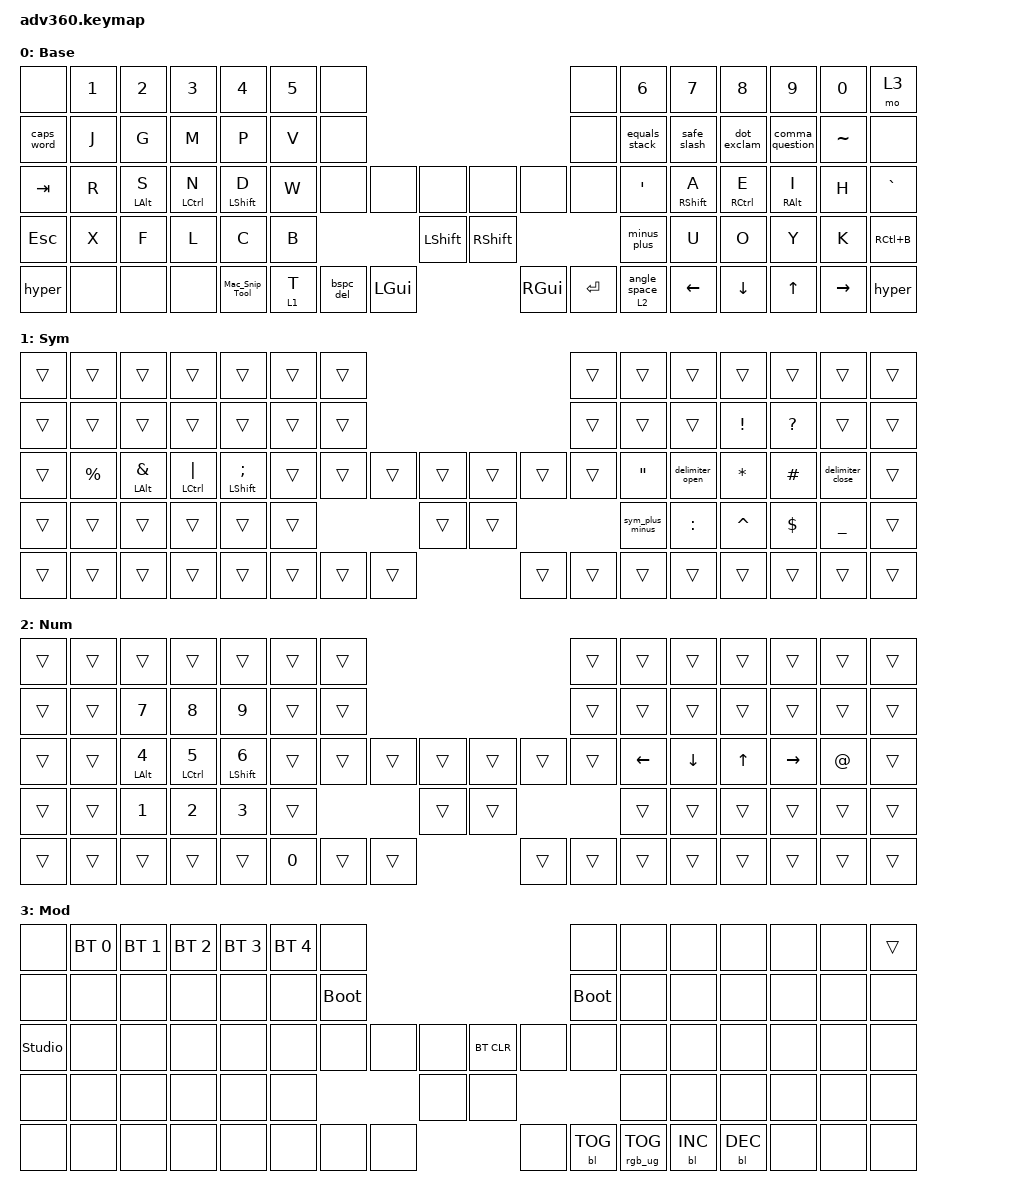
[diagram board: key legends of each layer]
#include <dt-bindings/zmk/stp.h>
#include <behaviors.dtsi>
#include <dt-bindings/zmk/backlight.h>
#include <dt-bindings/zmk/bt.h>
#include <dt-bindings/zmk/keys.h>
#include <dt-bindings/zmk/rgb.h>

// ------------------------------------------------------------------------------------------
// Advantage360 physical key positions (76 total).
// Binding arrays are serialized by position number, not by these visual rows.
//
//  0   1   2   3   4   5   6                                      7   8   9  10  11  12  13
// 14  15  16  17  18  19  20                                     21  22  23  24  25  26  27
// 28  29  30  31  32  33  34                                     39  40  41  42  43  44  45
// 46  47  48  49  50  51                                             54  55  56  57  58  59
//
// 60  61  62  63  64          35  36  |  37  38          71  72  73  74  75
//                         65  66  52  |  53  69  70
//                                 67  |  68
// ------------------------------------------------------------------------------------------

#define LEFT_HAND  0  1  2  3  4  5  6  14 15 16 17 18 19 20  28 29 30 31 32 33 34  46 47 48 49 50 51  60 61 62 63 64
#define RIGHT_HAND 7  8  9  10 11 12 13  21 22 23 24 25 26 27  39 40 41 42 43 44 45  54 55 56 57 58 59  71 72 73 74 75
#define THUMBS     65 66 67 68 69 70
#define CENTER     35 36 37 38 52 53

/ {
    behaviors {
        #include "macros.dtsi"
        #include "version.dtsi"

        hml: hml {
            compatible = "zmk,behavior-hold-tap";
            #binding-cells = <2>;
            flavor = "balanced";
            tapping-term-ms = <250>;
            quick-tap-ms = <175>;
            require-prior-idle-ms = <100>;
            hold-trigger-key-positions = <RIGHT_HAND THUMBS>;
            hold-trigger-on-release;
            bindings = <&kp>, <&kp>;
        };

        hmr: hmr {
            compatible = "zmk,behavior-hold-tap";
            #binding-cells = <2>;
            flavor = "balanced";
            tapping-term-ms = <250>;
            quick-tap-ms = <175>;
            require-prior-idle-ms = <100>;
            hold-trigger-key-positions = <LEFT_HAND THUMBS>;
            hold-trigger-on-release;
            bindings = <&kp>, <&kp>;
        };

        dot_exclam: dot_exclam {
            compatible = "zmk,behavior-mod-morph";
            #binding-cells = <0>;
            bindings = <&kp DOT>, <&kp EXCL>;

            mods = <(MOD_LSFT|MOD_RSFT)>;
        };

        comma_question: comma_question {
            compatible = "zmk,behavior-mod-morph";
            #binding-cells = <0>;
            bindings = <&kp COMMA>, <&kp QMARK>;

            mods = <(MOD_LSFT|MOD_RSFT)>;
        };

        bslash_slash: bslash_slash {
            compatible = "zmk,behavior-mod-morph";
            #binding-cells = <0>;
            bindings = <&kp BSLH>, <&kp KP_DIVIDE>;

            mods = <(MOD_LCTL|MOD_RCTL)>;
        };

        slash_backslash: slash_backslash {
            compatible = "zmk,behavior-mod-morph";
            #binding-cells = <0>;
            bindings = <&kp FSLH>, <&bslash_slash>;

            mods = <(MOD_LSFT|MOD_RSFT)>;
        };

        literal_slash: literal_slash {
            compatible = "zmk,behavior-mod-morph";
            #binding-cells = <0>;
            bindings = <&kp KP_DIVIDE>, <&kp KP_DIVIDE>;

            mods = <(MOD_LSFT|MOD_RSFT|MOD_LCTL|MOD_RCTL)>;
        };

        safe_slash: safe_slash {
            compatible = "zmk,behavior-mod-morph";
            #binding-cells = <0>;
            bindings = <&slash_backslash>, <&literal_slash>;

            // Left Alt selects angles and must not leak into a following slash.

            mods = <MOD_LALT>;
        };

        pipe_amp: pipe_amp {
            compatible = "zmk,behavior-mod-morph";
            #binding-cells = <0>;
            bindings = <&kp PIPE>, <&kp AMPS>;

            mods = <(MOD_LSFT|MOD_RSFT)>;
        };

        lpar_lbkt: lpar_lbkt {
            compatible = "zmk,behavior-mod-morph";
            #binding-cells = <0>;
            bindings = <&kp LPAR>, <&kp LBKT>;

            mods = <(MOD_LCTL|MOD_RCTL)>;
        };

        rpar_rbkt: rpar_rbkt {
            compatible = "zmk,behavior-mod-morph";
            #binding-cells = <0>;
            bindings = <&kp RPAR>, <&kp RBKT>;

            mods = <(MOD_LCTL|MOD_RCTL)>;
        };

        literal_lbrc: literal_lbrc {
            compatible = "zmk,behavior-mod-morph";
            #binding-cells = <0>;
            bindings = <&kp LBRC>, <&kp LBRC>;

            mods = <(MOD_LCTL|MOD_RCTL)>;
        };

        literal_rbrc: literal_rbrc {
            compatible = "zmk,behavior-mod-morph";
            #binding-cells = <0>;
            bindings = <&kp RBRC>, <&kp RBRC>;

            mods = <(MOD_LCTL|MOD_RCTL)>;
        };

        delimiter_stack_open: delimiter_stack_open {
            compatible = "zmk,behavior-mod-morph";
            #binding-cells = <0>;
            bindings = <&lpar_lbkt>, <&literal_lbrc>;

            mods = <(MOD_LSFT|MOD_RSFT)>;
        };

        delimiter_stack_close: delimiter_stack_close {
            compatible = "zmk,behavior-mod-morph";
            #binding-cells = <0>;
            bindings = <&rpar_rbkt>, <&literal_rbrc>;

            mods = <(MOD_LSFT|MOD_RSFT)>;
        };

        literal_lt: literal_lt {
            compatible = "zmk,behavior-mod-morph";
            #binding-cells = <0>;
            bindings = <&kp LESS_THAN>, <&kp LESS_THAN>;

            mods = <(MOD_LSFT|MOD_RSFT|MOD_LCTL|MOD_RCTL)>;
        };

        literal_gt: literal_gt {
            compatible = "zmk,behavior-mod-morph";
            #binding-cells = <0>;
            bindings = <&kp GREATER_THAN>, <&kp GREATER_THAN>;

            mods = <(MOD_LSFT|MOD_RSFT|MOD_LCTL|MOD_RCTL)>;
        };

        delimiter_open: delimiter_open {
            compatible = "zmk,behavior-mod-morph";
            #binding-cells = <0>;
            bindings = <&delimiter_stack_open>, <&literal_lt>;

            // Left Alt is the angle selector.

            mods = <MOD_LALT>;
        };

        delimiter_close: delimiter_close {
            compatible = "zmk,behavior-mod-morph";
            #binding-cells = <0>;
            bindings = <&delimiter_stack_close>, <&literal_gt>;

            // Left Alt is the angle selector.

            mods = <MOD_LALT>;
        };

        literal_minus: literal_minus {
            compatible = "zmk,behavior-mod-morph";
            #binding-cells = <0>;
            bindings = <&kp MINUS>, <&kp KP_MINUS>;

            mods = <MOD_LALT>;
        };

        literal_plus: literal_plus {
            compatible = "zmk,behavior-mod-morph";
            #binding-cells = <0>;
            bindings = <&kp PLUS>, <&kp KP_PLUS>;

            // Shift is already masked by minus_plus; mask the left-Alt angle selector.

            mods = <MOD_LALT>;
        };

        minus_plus: minus_plus {
            compatible = "zmk,behavior-mod-morph";
            #binding-cells = <0>;
            bindings = <&literal_minus>, <&literal_plus>;

            // Shift selects +; the selected leaf masks left Alt before sending the keycode.

            mods = <(MOD_LSFT|MOD_RSFT)>;
        };

        sym_plus_minus: sym_plus_minus {
            compatible = "zmk,behavior-mod-morph";
            #binding-cells = <0>;
            bindings = <&kp PLUS>, <&minus_plus>;

            // Sym promotes an unmodified press to +. Any held modifier keeps Base semantics.

            mods = <(MOD_LSFT|MOD_RSFT|MOD_LCTL|MOD_RCTL|MOD_LALT|MOD_RALT|MOD_LGUI|MOD_RGUI)>;
            keep-mods = <(MOD_LSFT|MOD_RSFT|MOD_LCTL|MOD_RCTL|MOD_LALT|MOD_RALT|MOD_LGUI|MOD_RGUI)>;
        };

        // Shift-only rolls emit plain `=`; Ctrl+Shift uses keypad equal so Shift cannot turn it into `+`.

        equals_morph: equals_morph {
            compatible = "zmk,behavior-mod-morph";
            #binding-cells = <0>;
            bindings = <&kp EQUAL>, <&kp KP_EQUAL>;

            mods = <(MOD_LCTL|MOD_RCTL)>;
        };

        equals_stack: equals_stack {
            compatible = "zmk,behavior-mod-morph";
            #binding-cells = <0>;
            bindings = <&kp EQUAL>, <&equals_morph>;

            mods = <(MOD_LSFT|MOD_RSFT|MOD_LALT)>;
        };

        space_ctrl_morph: space_ctrl_morph {
            compatible = "zmk,behavior-mod-morph";
            #binding-cells = <0>;
            bindings = <&kp LS(SPACE)>, <&kp SPACE>;

            // Outer Shift morph masks Shift. Add it back unless Ctrl is also held.

            mods = <(MOD_LCTL|MOD_RCTL)>;
        };

        space_tap: space_tap {
            compatible = "zmk,behavior-mod-morph";
            #binding-cells = <0>;
            bindings = <&kp SPACE>, <&space_ctrl_morph>;

            // Preserve Shift+Space and Ctrl+Space; only Shift+Ctrl becomes literal Space.

            mods = <(MOD_LSFT|MOD_RSFT)>;
        };

        literal_space: literal_space {
            compatible = "zmk,behavior-mod-morph";
            #binding-cells = <0>;
            bindings = <&kp SPACE>, <&kp SPACE>;

            mods = <(MOD_LSFT|MOD_RSFT|MOD_LCTL|MOD_RCTL)>;
        };

        angle_space: angle_space {
            compatible = "zmk,behavior-mod-morph";
            #binding-cells = <0>;
            bindings = <&space_tap>, <&literal_space>;

            // Left Alt is the angle selector. Right Alt retains ordinary Alt+Space.

            mods = <MOD_LALT>;
        };

        sym_space: sym_space {
            compatible = "zmk,behavior-hold-tap";
            #binding-cells = <2>;
            flavor = "tap-preferred";
            tapping-term-ms = <200>;
            bindings = <&mo>, <&angle_space>;
        };

        bspc_del: bspc_del {
            compatible = "zmk,behavior-mod-morph";
            #binding-cells = <0>;
            bindings = <&kp BSPC>, <&kp DEL>;

            mods = <(MOD_LSFT|MOD_RSFT)>;
        };
    };

    macros {
        macro_th: macro_th {
            compatible = "zmk,behavior-macro";
            #binding-cells = <0>;
            wait-ms = <0>;
            tap-ms = <0>;
            bindings = <&kp T &kp H>;
        };

        macro_pl: macro_pl {
            compatible = "zmk,behavior-macro";
            #binding-cells = <0>;
            wait-ms = <30>;
            tap-ms = <30>;
            bindings = <&kp P &kp L>;
        };

        hyper: hyper {
            compatible = "zmk,behavior-macro";
            #binding-cells = <0>;
            wait-ms = <0>;
            tap-ms = <0>;
            bindings =
                <&macro_press>,
                <&kp LSHFT &kp LCTRL &kp LALT &kp LGUI>,
                <&macro_pause_for_release>,
                <&macro_release>,
                <&kp LGUI &kp LALT &kp LCTRL &kp LSHFT>;
        };
    };

    combos {
        compatible = "zmk,combos";

        combo_z {
            timeout-ms = <35>;
            key-positions = <47 48>;
            bindings = <&kp Z>;
            layers = <0>;
        };

        combo_q {
            timeout-ms = <35>;
            key-positions = <16 17>;
            bindings = <&kp Q>;
            layers = <0>;
        };

        // Experimental: adjacent M+P chord replaces the P-to-L same-finger jump.

        combo_pl {
            timeout-ms = <25>;
            key-positions = <17 18>;
            bindings = <&macro_pl>;
            layers = <0>;
        };

        // Experimental: keep this short so fast SN/NS rolls do not accidentally emit TH.

        combo_th {
            timeout-ms = <25>;
            key-positions = <30 31>;
            bindings = <&macro_th>;
            layers = <0>;
        };
    };

    keymap {
        compatible = "zmk,keymap";

        // Layout invariants:
        // - Base owns =, /\, ./!, ,/?, ~, +, '/", grave, and -.
        // - Sym's left home row is % & | ; on R S N D; W remains transparent.
        // - Sym promotes !, ?, ", and + on their Base punctuation keys and adds the delimiter
        //   stacks, * #, and : ^ $ _ on the right hand.
        // - Keep Base punctuation transparent on Sym unless the same physical key intentionally
        //   promotes its shifted partner or masks an active delimiter selector.
        // - Keep quote-like keys clustered: ' is on Base and direct " is on Sym at the same
        //   physical position; grave remains separate on the outer upper key.
        // - Keep / transparent on Sym so </, />, /*, and */ work without releasing the layer.
        // - Delimiter stack: () plain, {} with Shift, [] with Ctrl, <> with left Alt.
        // - Keep ^/$ together for regex parity, and keep * and # adjacent for nvim search motions.
        // - Keep = as a shift-eating morph on Base/Sym fallthrough so !=, :=, ?=, =>, and >= can roll without producing +.
        // - Keep /, =, and Space safe under active delimiter selectors; mask left Alt on the
        //   combined -/+ key so angle continuations remain literal.

        default_layer {
            display-name = "Base";

            // -----------------------------------------------------------------------------------------------------------------------
            //
            //  Left keywell                              Right keywell
            //  ---   1     2       3        4  5  ---    ---   6       7       8       9       0  L3
            //  CAPSWORD J  G       M        P  V  ---    ---   =       /\      ./!     ,/?     ~  grave
            //  TAB   R     S/ALT   N/CTRL   D/SHFT W --- ---   '/"     A/SHFT  E/CTRL  I/ALT   H  ESC
            //  C-B   X     F       L        C  B               -/+     U       O       Y       K  C-B
            //  HYP   ---   ---     ---      SHOT                 LEFT  DOWN    UP      RIGHT   HYP
            //
            //  Upper center: ---  --- | ---  ---
            //  Inner center:      SHFT | SHFT
            //  Thumbs: T/L1  BSPC/DEL  LGUI | RGUI  ENTER  SPC/L2
            //
            // Combos: X+F=Z  G+M=Q  M+P=PL  S+N=TH
            // -----------------------------------------------------------------------------------------------------------------------

            bindings = <
&none       &kp N1  &kp N2       &kp N3        &kp N4        &kp N5  &none                                                  &none           &kp N6         &kp N7        &kp N8        &kp N9           &kp N0     &mo 3
&caps_word  &kp J   &kp G        &kp M         &kp P         &kp V   &none                                                  &none           &equals_stack  &safe_slash   &dot_exclam   &comma_question  &kp TILDE  &none
&kp TAB     &kp R   &hml LALT S  &hml LCTRL N  &hml LSHFT D  &kp W   &none    &none      &none         &none     &none      &none           &kp SQT        &hmr RSHFT A  &hmr RCTRL E  &hmr RALT I      &kp H      &kp GRAVE
&kp ESC     &kp X   &kp F        &kp L         &kp C         &kp B                       &kp LSHFT     &kp RSHFT                            &minus_plus    &kp U         &kp O         &kp Y            &kp K      &kp RC(B)
&hyper      &none   &none        &none         &Mac_Snip_Tool        &lt 1 T  &bspc_del  &kp LGUI      &kp RGUI  &kp ENTER  &sym_space 2 0                 &kp LEFT      &kp DOWN      &kp UP          &kp RIGHT  &hyper
            >;
        };

        symbols_layer {
            display-name = "Sym";

            // `·` is transparent to Base. Center and thumb keys are all transparent.
            //
            //  Left keywell                              Right keywell
            //  ·  ·       ·        ·         ·       ·  ·    ·  ·        ·        ·  ·  ·
            //  ·  ·       ·        ·         ·       ·  ·    ·  ·        ·        !  ?  ·  ·
            //  ·  %       &/ALT    |/CTRL    ;/SHFT  ·  ·    ·  "        (stack)  *  #  )stack  ·
            //  ·  ·       ·        ·         ·       ·       +  :        ^        $  _  ·
            //  ·  ·       ·        ·         ·                  ·        ·        ·  ·  ·
            //
            // Delimiter stacks: () plain, {} with Shift, [] with Ctrl, <> with left Alt.
            // Alt safety is explicit here or handled by Base fallthrough.

            bindings = <
&trans  &trans     &trans          &trans           &trans           &trans  &trans                                      &trans  &trans             &trans           &trans     &trans        &trans            &trans
&trans  &trans     &trans          &trans           &trans           &trans  &trans                                      &trans  &trans             &trans           &kp EXCL   &kp QUESTION  &trans            &trans
&trans  &kp PRCNT  &hml LALT AMPS  &hml LCTRL PIPE  &hml LSHFT SEMI  &trans  &trans  &trans  &trans      &trans  &trans  &trans  &kp DOUBLE_QUOTES  &delimiter_open  &kp ASTRK  &kp HASH      &delimiter_close  &trans
&trans  &trans     &trans          &trans           &trans           &trans                  &trans      &trans                  &sym_plus_minus     &kp COLON        &kp CARET  &kp DLLR      &kp UNDER         &trans
&trans  &trans     &trans          &trans           &trans                   &trans  &trans  &trans      &trans  &trans  &trans                     &trans           &trans     &trans        &trans            &trans
            >;
        };

        num_nav_layer {
            display-name = "Num";

            // Left: 7-9 on G/M/P, 4-6 with HRMs on S/N/D, 1-3 on F/L/C, 0 on T.
            // Right home row: Left/Down/Up/Right/@ on quote/A/E/I/H.

            bindings = <
&trans  &trans  &trans        &trans         &trans         &trans  &trans                                      &trans  &trans    &trans    &trans  &trans     &trans  &trans
&trans  &trans  &kp N7        &kp N8         &kp N9         &trans  &trans                                      &trans  &trans    &trans    &trans  &trans     &trans  &trans
&trans  &trans  &hml LALT N4  &hml LCTRL N5  &hml LSHFT N6  &trans  &trans  &trans  &trans      &trans  &trans  &trans  &kp LEFT  &kp DOWN  &kp UP  &kp RIGHT  &kp AT  &trans
&trans  &trans  &kp N1        &kp N2         &kp N3         &trans                  &trans      &trans                  &trans    &trans    &trans  &trans     &trans  &trans
&trans  &trans  &trans        &trans         &trans                 &kp N0  &trans  &trans      &trans  &trans  &trans            &trans    &trans  &trans     &trans  &trans
            >;
        };

        mod {
            display-name = "Mod";

            // Hold Base's top-right L3 key for these maintenance bindings.

            bindings = <
&none           &bt BT_SEL 0  &bt BT_SEL 1  &bt BT_SEL 2  &bt BT_SEL 3  &bt BT_SEL 4  &none                                                  &none            &none  &none       &none       &none  &none  &trans
&none           &none         &none         &none         &none         &none         &bootloader                                            &bootloader      &none  &none       &none       &none  &none  &none
&studio_unlock  &none         &none         &none         &none         &none         &none        &none  &none      &bt BT_CLR  &none       &none            &none  &none       &none       &none  &none  &none
&none           &none         &none         &none         &none         &none                             &none      &none                                    &none  &none       &none       &none  &none  &none
&none           &none         &none         &none         &none                       &none        &none  &none      &none       &bl BL_TOG  &rgb_ug RGB_TOG         &bl BL_INC  &bl BL_DEC  &none  &none  &none
            >;
        };
    };
};
